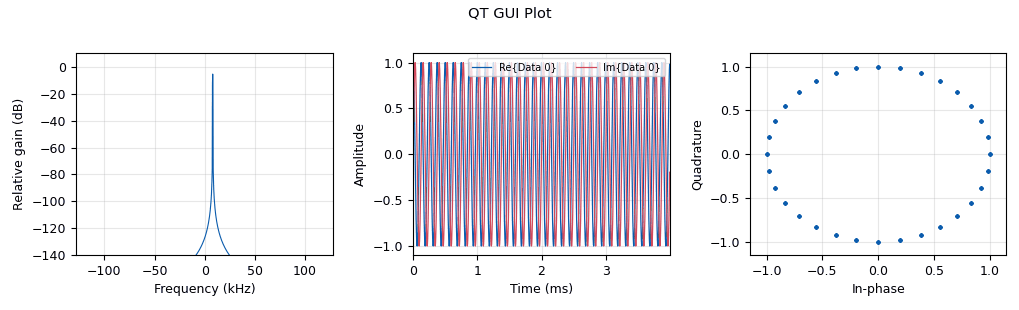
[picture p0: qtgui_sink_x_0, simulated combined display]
<?xml version='1.0' encoding='utf-8'?>
<flow_graph>
<block>
<key>options</key>
<param><key>id</key><value>VectorSelectorDemo1</value></param>
<param><key>generate_options</key><value>qt_gui</value></param>
<param><key>category</key><value>Custom</value></param>
</block>
<block>
<key>variable</key>
<param><key>id</key><value>samp_rate</value></param>
<param><key>value</key><value>256000</value></param>
</block>
<block>
<key>variable</key>
<param><key>id</key><value>tap</value></param>
<param><key>value</key><value>int( (fft_size/2) + (freq/Hz_per_slice) )</value></param>
</block>
<block>
<key>variable</key>
<param><key>id</key><value>Hz_per_slice</value></param>
<param><key>value</key><value>samp_rate / fft_size</value></param>
</block>
<block>
<key>variable</key>
<param><key>id</key><value>fft_size</value></param>
<param><key>value</key><value>1024</value></param>
</block>
<block>
<key>blocks_null_sink</key>
<param><key>id</key><value>blocks_null_sink_0</value></param>
<param><key>type</key><value>float</value></param>
</block>
<block>
<key>goertzel_fc</key>
<param><key>id</key><value>goertzel_fc_0</value></param>
<param><key>rate</key><value>samp_rate</value></param>
<param><key>len</key><value>fft_size</value></param>
<param><key>freq</key><value>freq</value></param>
</block>
<block>
<key>blocks_throttle</key>
<param><key>id</key><value>blocks_throttle_0</value></param>
<param><key>type</key><value>complex</value></param>
<param><key>samples_per_second</key><value>samp_rate</value></param>
</block>
<block>
<key>qtgui_time_sink_x</key>
<param><key>id</key><value>qtgui_time_sink_x_0_0</value></param>
<param><key>type</key><value>complex</value></param>
<param><key>name</key><value>QT GUI Plot</value></param>
<param><key>size</key><value>1024</value></param>
<param><key>srate</key><value>samp_rate</value></param>
<param><key>update_time</key><value>0.1</value></param>
<param><key>tr_level</key><value>1</value></param>
<param><key>gui_hint</key><value>qtgui_tab_widget_0@1: 1,2</value></param>
</block>
<block>
<key>blocks_complex_to_float</key>
<param><key>id</key><value>blocks_complex_to_float_0</value></param>
</block>
<block>
<key>qtgui_sink_x</key>
<param><key>id</key><value>qtgui_sink_x_0</value></param>
<param><key>type</key><value>complex</value></param>
<param><key>name</key><value>QT GUI Plot</value></param>
<param><key>fftsize</key><value>fft_size</value></param>
<param><key>wintype</key><value>firdes.WIN_HAMMING</value></param>
<param><key>fc</key><value>0</value></param>
<param><key>bw</key><value>samp_rate</value></param>
<param><key>gui_hint</key><value>qtgui_tab_widget_0@0</value></param>
<param><key>freqchangevar</key><value>freq</value></param>
</block>
<block>
<key>channels_impairments</key>
<param><key>id</key><value>channels_impairments_0</value></param>
<param><key>phase_noise_mag</key><value>phase_noise_mag</value></param>
<param><key>magbal</key><value>magbal</value></param>
<param><key>phasebal</key><value>phasebal</value></param>
<param><key>q_ofs</key><value>q_ofs</value></param>
<param><key>i_ofs</key><value>i_ofs</value></param>
<param><key>freq_offset</key><value>freq_offset</value></param>
<param><key>gamma</key><value>0</value></param>
<param><key>beta</key><value>beta</value></param>
</block>
<block>
<key>variable_qtgui_range</key>
<param><key>id</key><value>phasebal</value></param>
<param><key>label</key><value>IQ Phase Imbalance</value></param>
<param><key>value</key><value>0</value></param>
<param><key>start</key><value>0</value></param>
<param><key>stop</key><value>45</value></param>
<param><key>step</key><value>0.1</value></param>
<param><key>widget</key><value>slider</value></param>
<param><key>orient</key><value>Qt.Horizontal</value></param>
<param><key>gui_hint</key><value>3,2</value></param>
</block>
<block>
<key>variable_qtgui_range</key>
<param><key>id</key><value>freq_offset</value></param>
<param><key>label</key><value>Frequency Offset</value></param>
<param><key>value</key><value>0</value></param>
<param><key>start</key><value>-0.5</value></param>
<param><key>stop</key><value>0.5</value></param>
<param><key>step</key><value>0.001</value></param>
<param><key>widget</key><value>slider</value></param>
<param><key>orient</key><value>Qt.Horizontal</value></param>
<param><key>gui_hint</key><value>2,2</value></param>
</block>
<block>
<key>variable_qtgui_range</key>
<param><key>id</key><value>phase_noise_mag</value></param>
<param><key>label</key><value>Phase Noise Mag (dB)</value></param>
<param><key>value</key><value>-100</value></param>
<param><key>start</key><value>-100</value></param>
<param><key>stop</key><value>0</value></param>
<param><key>step</key><value>1</value></param>
<param><key>widget</key><value>slider</value></param>
<param><key>orient</key><value>Qt.Horizontal</value></param>
<param><key>gui_hint</key><value>2,1</value></param>
</block>
<block>
<key>variable_qtgui_range</key>
<param><key>id</key><value>magbal</value></param>
<param><key>label</key><value>IQ Magnitude Imbalance</value></param>
<param><key>value</key><value>0</value></param>
<param><key>start</key><value>0</value></param>
<param><key>stop</key><value>10</value></param>
<param><key>step</key><value>0.1</value></param>
<param><key>widget</key><value>slider</value></param>
<param><key>orient</key><value>Qt.Horizontal</value></param>
<param><key>gui_hint</key><value>3,1</value></param>
</block>
<block>
<key>variable_qtgui_range</key>
<param><key>id</key><value>beta</value></param>
<param><key>label</key><value>k3 (IP3)</value></param>
<param><key>value</key><value>0</value></param>
<param><key>start</key><value>-10</value></param>
<param><key>stop</key><value>0</value></param>
<param><key>step</key><value>0.01</value></param>
<param><key>widget</key><value>slider</value></param>
<param><key>orient</key><value>Qt.Horizontal</value></param>
<param><key>gui_hint</key><value>5,1</value></param>
</block>
<block>
<key>variable_qtgui_range</key>
<param><key>id</key><value>q_ofs</value></param>
<param><key>label</key><value>Q offset</value></param>
<param><key>value</key><value>0</value></param>
<param><key>start</key><value>-1</value></param>
<param><key>stop</key><value>1</value></param>
<param><key>step</key><value>0.001</value></param>
<param><key>widget</key><value>slider</value></param>
<param><key>orient</key><value>Qt.Horizontal</value></param>
<param><key>gui_hint</key><value>4,2</value></param>
</block>
<block>
<key>variable_qtgui_range</key>
<param><key>id</key><value>i_ofs</value></param>
<param><key>label</key><value>I offset</value></param>
<param><key>value</key><value>0</value></param>
<param><key>start</key><value>-1</value></param>
<param><key>stop</key><value>1</value></param>
<param><key>step</key><value>0.001</value></param>
<param><key>widget</key><value>slider</value></param>
<param><key>orient</key><value>Qt.Horizontal</value></param>
<param><key>gui_hint</key><value>4,1</value></param>
</block>
<block>
<key>blocks_stream_to_vector</key>
<param><key>id</key><value>blocks_stream_to_vector_0</value></param>
<param><key>type</key><value>complex</value></param>
<param><key>num_items</key><value>fft_size</value></param>
</block>
<block>
<key>fft_vxx</key>
<param><key>id</key><value>fft_vxx_0</value></param>
<param><key>type</key><value>complex</value></param>
<param><key>fft_size</key><value>fft_size</value></param>
<param><key>forward</key><value>True</value></param>
<param><key>window</key><value>window.blackmanharris(fft_size)</value></param>
<param><key>shift</key><value>True</value></param>
<param><key>nthreads</key><value>8</value></param>
</block>
<block>
<key>qtgui_time_sink_x</key>
<param><key>id</key><value>qtgui_time_sink_x_0</value></param>
<param><key>type</key><value>complex</value></param>
<param><key>name</key><value>QT GUI Plot</value></param>
<param><key>size</key><value>1024</value></param>
<param><key>srate</key><value>int( samp_rate / fft_size )</value></param>
<param><key>ymin</key><value>-800</value></param>
<param><key>ymax</key><value>800</value></param>
<param><key>update_time</key><value>0.1</value></param>
<param><key>tr_level</key><value>1</value></param>
<param><key>gui_hint</key><value>qtgui_tab_widget_0@1: 1,1</value></param>
</block>
<block>
<key>qtgui_tab_widget</key>
<param><key>id</key><value>qtgui_tab_widget_0</value></param>
<param><key>num_tabs</key><value>2</value></param>
<param><key>label0</key><value>QT GUI</value></param>
<param><key>label1</key><value>FFT Slice vs Goertzel</value></param>
<param><key>gui_hint</key><value>1,1,1,2</value></param>
</block>
<block>
<key>blks2_selector</key>
<param><key>id</key><value>blks2_selector_1</value></param>
<param><key>type</key><value>complex</value></param>
<param><key>num_inputs</key><value>3</value></param>
<param><key>num_outputs</key><value>1</value></param>
<param><key>input_index</key><value>input_idx</value></param>
<param><key>output_index</key><value>0</value></param>
<param><key>vlen</key><value>1</value></param>
</block>
<block>
<key>variable_qtgui_entry</key>
<param><key>id</key><value>freq</value></param>
<param><key>type</key><value>int</value></param>
<param><key>value</key><value>8000</value></param>
<param><key>gui_hint</key><value>6,1</value></param>
</block>
<block>
<key>variable_qtgui_entry</key>
<param><key>id</key><value>input_idx</value></param>
<param><key>type</key><value>int</value></param>
<param><key>value</key><value>1</value></param>
<param><key>gui_hint</key><value>6,2</value></param>
</block>
<block>
<key>variable_qtgui_check_box</key>
<param><key>id</key><value>HWI_on_off</value></param>
<param><key>type</key><value>int</value></param>
<param><key>value</key><value>0</value></param>
<param><key>true</key><value>1</value></param>
<param><key>false</key><value>0</value></param>
<param><key>gui_hint</key><value>5,2</value></param>
</block>
<block>
<key>analog_sig_source_x</key>
<param><key>id</key><value>analog_sig_source_x_0</value></param>
<param><key>type</key><value>complex</value></param>
<param><key>samp_rate</key><value>samp_rate</value></param>
<param><key>waveform</key><value>analog.GR_COS_WAVE</value></param>
<param><key>freq</key><value>freq</value></param>
<param><key>amp</key><value>1</value></param>
<param><key>offset</key><value>0</value></param>
</block>
<block>
<key>blks2_selector</key>
<param><key>id</key><value>blks2_selector_0</value></param>
<param><key>type</key><value>complex</value></param>
<param><key>num_inputs</key><value>2</value></param>
<param><key>num_outputs</key><value>1</value></param>
<param><key>input_index</key><value>HWI_on_off</value></param>
<param><key>output_index</key><value>0</value></param>
<param><key>vlen</key><value>1</value></param>
</block>
<block>
<key>vector_selector</key>
<param><key>id</key><value>vector_selector_0</value></param>
<param><key>type</key><value>complex</value></param>
<param><key>vec_len</key><value>fft_size</value></param>
<param><key>indices</key><value>tap-1,tap,tap+1</value></param>
<param><key>modality</key><value>grvectorselector.INDEX_MODE</value></param>
<param><key>debug</key><value>False</value></param>
</block>
<connection><source_block_id>blocks_stream_to_vector_0</source_block_id><sink_block_id>fft_vxx_0</sink_block_id><source_key>0</source_key><sink_key>0</sink_key></connection>
<connection><source_block_id>fft_vxx_0</source_block_id><sink_block_id>vector_selector_0</sink_block_id><source_key>0</source_key><sink_key>0</sink_key></connection>
<connection><source_block_id>blocks_throttle_0</source_block_id><sink_block_id>qtgui_time_sink_x_0_0</sink_block_id><source_key>0</source_key><sink_key>0</sink_key></connection>
<connection><source_block_id>goertzel_fc_0</source_block_id><sink_block_id>blocks_throttle_0</sink_block_id><source_key>0</source_key><sink_key>0</sink_key></connection>
<connection><source_block_id>blocks_complex_to_float_0</source_block_id><sink_block_id>blocks_null_sink_0</sink_block_id><source_key>1</source_key><sink_key>0</sink_key></connection>
<connection><source_block_id>blocks_complex_to_float_0</source_block_id><sink_block_id>goertzel_fc_0</sink_block_id><source_key>0</source_key><sink_key>0</sink_key></connection>
<connection><source_block_id>analog_sig_source_x_0</source_block_id><sink_block_id>channels_impairments_0</sink_block_id><source_key>0</source_key><sink_key>0</sink_key></connection>
<connection><source_block_id>blks2_selector_0</source_block_id><sink_block_id>blocks_stream_to_vector_0</sink_block_id><source_key>0</source_key><sink_key>0</sink_key></connection>
<connection><source_block_id>blks2_selector_0</source_block_id><sink_block_id>blocks_complex_to_float_0</sink_block_id><source_key>0</source_key><sink_key>0</sink_key></connection>
<connection><source_block_id>blks2_selector_0</source_block_id><sink_block_id>qtgui_sink_x_0</sink_block_id><source_key>0</source_key><sink_key>0</sink_key></connection>
<connection><source_block_id>channels_impairments_0</source_block_id><sink_block_id>blks2_selector_0</sink_block_id><source_key>0</source_key><sink_key>1</sink_key></connection>
<connection><source_block_id>analog_sig_source_x_0</source_block_id><sink_block_id>blks2_selector_0</sink_block_id><source_key>0</source_key><sink_key>0</sink_key></connection>
<connection><source_block_id>vector_selector_0</source_block_id><sink_block_id>blks2_selector_1</sink_block_id><source_key>0</source_key><sink_key>0</sink_key></connection>
<connection><source_block_id>blks2_selector_1</source_block_id><sink_block_id>qtgui_time_sink_x_0</sink_block_id><source_key>0</source_key><sink_key>0</sink_key></connection>
<connection><source_block_id>vector_selector_0</source_block_id><sink_block_id>blks2_selector_1</sink_block_id><source_key>1</source_key><sink_key>1</sink_key></connection>
<connection><source_block_id>vector_selector_0</source_block_id><sink_block_id>blks2_selector_1</sink_block_id><source_key>2</source_key><sink_key>2</sink_key></connection>
</flow_graph>
